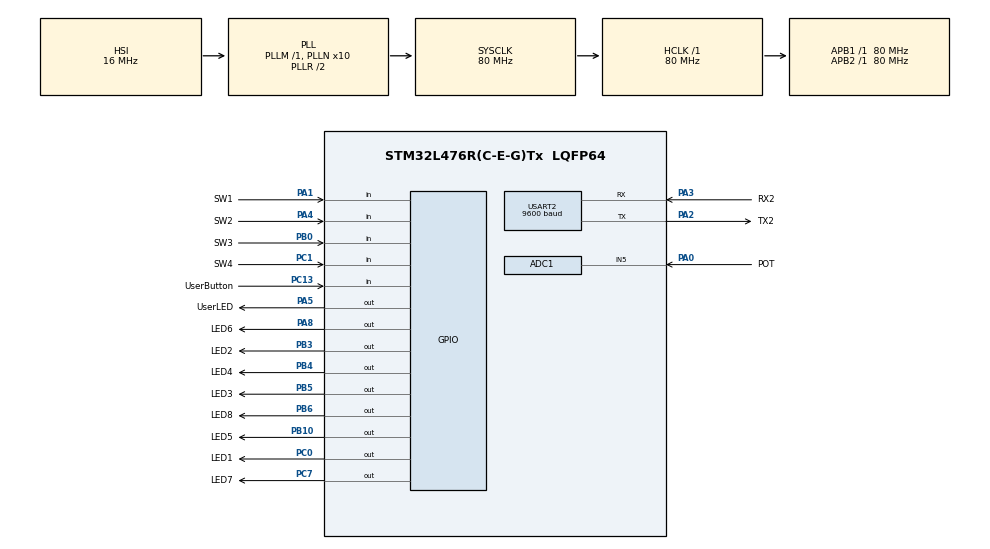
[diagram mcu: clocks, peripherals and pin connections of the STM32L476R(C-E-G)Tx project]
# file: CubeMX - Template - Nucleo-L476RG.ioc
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ADC1.Channel-0\#ChannelRegularConversion=ADC_CHANNEL_5
ADC1.NbrOfConversionFlag=1
ADC1.OffsetNumber-0\#ChannelRegularConversion=ADC_OFFSET_NONE
ADC1.Overrun=ADC_OVR_DATA_OVERWRITTEN
ADC1.Rank-0\#ChannelRegularConversion=1
ADC1.Resolution=ADC_RESOLUTION_12B
ADC1.SamplingTime-0\#ChannelRegularConversion=ADC_SAMPLETIME_2CYCLES_5
ADC1.master=1
FREERTOS.BinarySemaphores01=myBinarySemaphore,Dynamic,NULL
FREERTOS.Tasks01=SemaAcqThread,24,128,SemaphoreAcquire,Default,NULL,Dynamic,NULL,NULL;SemaRelThread1,24,128,SemaphoreReleaseByDelay,Default,NULL,Dynamic,NULL,NULL;SemaRelThread2,24,128,SemaphoreReleaseByButton,Default,NULL,Dynamic,NULL,NULL
FREERTOS.configUSE_NEWLIB_REENTRANT=0
Mcu.Family=STM32L4
Mcu.Name=STM32L476R(C-E-G)Tx
Mcu.Package=LQFP64
NVIC.PriorityGroup=NVIC_PRIORITYGROUP_4
NVIC.TIM6_DAC_IRQn=true\:15\:0\:false\:false\:true\:false\:false\:true\:true
NVIC.TimeBase=TIM6_DAC_IRQn
NVIC.TimeBaseIP=TIM6
PA0.GPIO_Label=POT
PA0.Signal=ADCx_IN5
PA1.GPIO_Label=SW1
PA1.Signal=GPIO_Input
PA13\ (JTMS-SWDIO).GPIO_Label=TMS
PA13\ (JTMS-SWDIO).Mode=Serial_Wire
PA13\ (JTMS-SWDIO).Signal=SYS_JTMS-SWDIO
PA14\ (JTCK-SWCLK).GPIO_Label=TCK
PA14\ (JTCK-SWCLK).Mode=Serial_Wire
PA14\ (JTCK-SWCLK).Signal=SYS_JTCK-SWCLK
PA2.GPIO_Label=TX2
PA2.GPIO_Mode=GPIO_MODE_AF_PP
PA2.GPIO_PuPd=GPIO_NOPULL
PA2.GPIO_Speed=GPIO_SPEED_FREQ_VERY_HIGH
PA2.Mode=Asynchronous
PA2.Signal=USART2_TX
PA3.GPIO_Label=RX2
PA3.GPIO_Mode=GPIO_MODE_AF_PP
PA3.GPIO_PuPd=GPIO_NOPULL
PA3.GPIO_Speed=GPIO_SPEED_FREQ_VERY_HIGH
PA3.Mode=Asynchronous
PA3.Signal=USART2_RX
PA4.GPIO_Label=SW2
PA4.Signal=GPIO_Input
PA5.GPIO_Label=UserLED
PA5.GPIO_ModeDefaultOutputPP=GPIO_MODE_OUTPUT_PP
PA5.GPIO_PuPd=GPIO_NOPULL
PA5.GPIO_Speed=GPIO_SPEED_FREQ_LOW
PA5.Signal=GPIO_Output
PA8.GPIO_Label=LED6
PA8.Signal=GPIO_Output
PB0.GPIO_Label=SW3
PB0.Signal=GPIO_Input
PB10.GPIO_Label=LED5
PB10.Signal=GPIO_Output
PB3\ (JTDO-TRACESWO).GPIO_Label=LED2
PB3\ (JTDO-TRACESWO).Signal=GPIO_Output
PB4\ (NJTRST).GPIO_Label=LED4
PB4\ (NJTRST).Signal=GPIO_Output
PB5.GPIO_Label=LED3
PB5.Signal=GPIO_Output
PB6.GPIO_Label=LED8
PB6.Signal=GPIO_Output
PC0.GPIO_Label=LED1
PC0.Signal=GPIO_Output
PC1.GPIO_Label=SW4
PC1.Signal=GPIO_Input
PC13.GPIO_Label=UserButton
PC13.Signal=GPIO_Input
PC7.GPIO_Label=LED7
PC7.Signal=GPIO_Output
ProjectManager.HeapSize=0x200
ProjectManager.StackSize=0x400
ProjectManager.TargetToolchain=Makefile
RCC.ADCFreq_Value=64000000
RCC.AHBFreq_Value=80000000
RCC.APB1Freq_Value=80000000
RCC.APB1TimFreq_Value=80000000
RCC.APB2Freq_Value=80000000
RCC.APB2TimFreq_Value=80000000
RCC.CortexFreq_Value=80000000
RCC.HCLKFreq_Value=80000000
RCC.HSE_VALUE=8000000
RCC.HSI_VALUE=16000000
RCC.LSE_VALUE=32768
RCC.MSI_VALUE=4000000
RCC.PLLN=10
RCC.PLLSourceVirtual=RCC_PLLSOURCE_HSI
RCC.PREFETCH_ENABLE=1
RCC.SYSCLKFreq_VALUE=80000000
RCC.SYSCLKSource=RCC_SYSCLKSOURCE_PLLCLK
RCC.USBFreq_Value=64000000
RCC.VCOOutputFreq_Value=160000000
SH.ADCx_IN5.0=ADC1_IN5,IN5-Single-Ended
USART2.BaudRate=9600
USART2.OverrunDisableParam=ADVFEATURE_OVERRUN_DISABLE
USART2.VirtualMode-Asynchronous=VM_ASYNC
VP_FREERTOS_VS_CMSIS_V2.Mode=CMSIS_V2
VP_SYS_VS_tim6.Mode=TIM6
board=NUCLEO-L476RG

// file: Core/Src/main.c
/* USER CODE BEGIN Header */
/**
  ******************************************************************************
  * @file           : main.c
  * @brief          : Main program body
  ******************************************************************************
  * @attention
  *
  * Copyright (c) 2023 STMicroelectronics.
  * All rights reserved.
  *
  * This software is licensed under terms that can be found in the LICENSE file
  * in the root directory of this software component.
  * If no LICENSE file comes with this software, it is provided AS-IS.
  *
  ******************************************************************************
  */
	// Versie: 20252026
/* USER CODE END Header */
#include "main.h"
#include "cmsis_os.h"

/* USER CODE BEGIN Includes */
#include "leds.h"
#include "buttons.h"
#include "usart2.h"
#include "ad.h"
#include "stdio.h"
/* USER CODE END Includes */

ADC_HandleTypeDef hadc1;

UART_HandleTypeDef huart2;

/* Definitions for SemaAcqThread */
osThreadId_t SemaAcqThreadHandle;
const osThreadAttr_t SemaAcqThread_attributes = {
  .name = "SemaAcqThread",
  .stack_size = 128 * 4,
  .priority = (osPriority_t) osPriorityNormal,
};
/* Definitions for SemaRelThread1 */
osThreadId_t SemaRelThread1Handle;
const osThreadAttr_t SemaRelThread1_attributes = {
  .name = "SemaRelThread1",
  .stack_size = 128 * 4,
  .priority = (osPriority_t) osPriorityNormal,
};
/* Definitions for SemaRelThread2 */
osThreadId_t SemaRelThread2Handle;
const osThreadAttr_t SemaRelThread2_attributes = {
  .name = "SemaRelThread2",
  .stack_size = 128 * 4,
  .priority = (osPriority_t) osPriorityNormal,
};
/* Definitions for myBinarySemaphore */
osSemaphoreId_t myBinarySemaphoreHandle;
const osSemaphoreAttr_t myBinarySemaphore_attributes = {
  .name = "myBinarySemaphore"
};

void SystemClock_Config(void);
static void MX_GPIO_Init(void);
static void MX_ADC1_Init(void);
static void MX_USART2_UART_Init(void);
void SemaphoreAcquire(void *argument);
void SemaphoreReleaseByDelay(void *argument);
void SemaphoreReleaseByButton(void *argument);

int main(void)
{

  /* MCU Configuration--------------------------------------------------------*/

  /* Reset of all peripherals, Initializes the Flash interface and the Systick. */
  HAL_Init();

  /* Configure the system clock */
  SystemClock_Config();

  /* Initialize all configured peripherals */
  MX_GPIO_Init();
  MX_ADC1_Init();
  MX_USART2_UART_Init();
  /* USER CODE BEGIN 2 */
	// Laten weten dat we opgestart zijn, via de USART2 (USB).
	printf("Reboot\r\n");
  /* USER CODE END 2 */

  /* Init scheduler */
  osKernelInitialize();

  /* Create the semaphores(s) */
  /* creation of myBinarySemaphore */
  myBinarySemaphoreHandle = osSemaphoreNew(1, 0, &myBinarySemaphore_attributes);

  /* Create the thread(s) */
  /* creation of SemaAcqThread */
  SemaAcqThreadHandle = osThreadNew(SemaphoreAcquire, NULL, &SemaAcqThread_attributes);

  /* creation of SemaRelThread1 */
  SemaRelThread1Handle = osThreadNew(SemaphoreReleaseByDelay, NULL, &SemaRelThread1_attributes);

  /* creation of SemaRelThread2 */
  SemaRelThread2Handle = osThreadNew(SemaphoreReleaseByButton, NULL, &SemaRelThread2_attributes);

  /* Start scheduler */
  osKernelStart();

  /* We should never get here as control is now taken by the scheduler */

  /* Infinite loop */
  while (1)
  {

  }
}

void SystemClock_Config(void)
{
  RCC_OscInitTypeDef RCC_OscInitStruct = {0};
  RCC_ClkInitTypeDef RCC_ClkInitStruct = {0};

  /** Configure the main internal regulator output voltage
  */
  if (HAL_PWREx_ControlVoltageScaling(PWR_REGULATOR_VOLTAGE_SCALE1) != HAL_OK)
  {
    Error_Handler();
  }

  /** Initializes the RCC Oscillators according to the specified parameters
  * in the RCC_OscInitTypeDef structure.
  */
  RCC_OscInitStruct.OscillatorType = RCC_OSCILLATORTYPE_HSI;
  RCC_OscInitStruct.HSIState = RCC_HSI_ON;
  RCC_OscInitStruct.HSICalibrationValue = RCC_HSICALIBRATION_DEFAULT;
  RCC_OscInitStruct.PLL.PLLState = RCC_PLL_ON;
  RCC_OscInitStruct.PLL.PLLSource = RCC_PLLSOURCE_HSI;
  RCC_OscInitStruct.PLL.PLLM = 1;
  RCC_OscInitStruct.PLL.PLLN = 10;
  RCC_OscInitStruct.PLL.PLLP = RCC_PLLP_DIV7;
  RCC_OscInitStruct.PLL.PLLQ = RCC_PLLQ_DIV2;
  RCC_OscInitStruct.PLL.PLLR = RCC_PLLR_DIV2;
  if (HAL_RCC_OscConfig(&RCC_OscInitStruct) != HAL_OK)
  {
    Error_Handler();
  }

  /** Initializes the CPU, AHB and APB buses clocks
  */
  RCC_ClkInitStruct.ClockType = RCC_CLOCKTYPE_HCLK|RCC_CLOCKTYPE_SYSCLK
                              |RCC_CLOCKTYPE_PCLK1|RCC_CLOCKTYPE_PCLK2;
  RCC_ClkInitStruct.SYSCLKSource = RCC_SYSCLKSOURCE_PLLCLK;
  RCC_ClkInitStruct.AHBCLKDivider = RCC_SYSCLK_DIV1;
  RCC_ClkInitStruct.APB1CLKDivider = RCC_HCLK_DIV1;
  RCC_ClkInitStruct.APB2CLKDivider = RCC_HCLK_DIV1;

  if (HAL_RCC_ClockConfig(&RCC_ClkInitStruct, FLASH_LATENCY_4) != HAL_OK)
  {
    Error_Handler();
  }
}

static void MX_ADC1_Init(void)
{

  ADC_MultiModeTypeDef multimode = {0};
  ADC_ChannelConfTypeDef sConfig = {0};

  /** Common config
  */
  hadc1.Instance = ADC1;
  hadc1.Init.ClockPrescaler = ADC_CLOCK_ASYNC_DIV1;
  hadc1.Init.Resolution = ADC_RESOLUTION_12B;
  hadc1.Init.DataAlign = ADC_DATAALIGN_RIGHT;
  hadc1.Init.ScanConvMode = ADC_SCAN_DISABLE;
  hadc1.Init.EOCSelection = ADC_EOC_SINGLE_CONV;
  hadc1.Init.LowPowerAutoWait = DISABLE;
  hadc1.Init.ContinuousConvMode = DISABLE;
  hadc1.Init.NbrOfConversion = 1;
  hadc1.Init.DiscontinuousConvMode = DISABLE;
  hadc1.Init.ExternalTrigConv = ADC_SOFTWARE_START;
  hadc1.Init.ExternalTrigConvEdge = ADC_EXTERNALTRIGCONVEDGE_NONE;
  hadc1.Init.DMAContinuousRequests = DISABLE;
  hadc1.Init.Overrun = ADC_OVR_DATA_OVERWRITTEN;
  hadc1.Init.OversamplingMode = DISABLE;
  if (HAL_ADC_Init(&hadc1) != HAL_OK)
  {
    Error_Handler();
  }

  /** Configure the ADC multi-mode
  */
  multimode.Mode = ADC_MODE_INDEPENDENT;
  if (HAL_ADCEx_MultiModeConfigChannel(&hadc1, &multimode) != HAL_OK)
  {
    Error_Handler();
  }

  /** Configure Regular Channel
  */
  sConfig.Channel = ADC_CHANNEL_5;
  sConfig.Rank = ADC_REGULAR_RANK_1;
  sConfig.SamplingTime = ADC_SAMPLETIME_2CYCLES_5;
  sConfig.SingleDiff = ADC_SINGLE_ENDED;
  sConfig.OffsetNumber = ADC_OFFSET_NONE;
  sConfig.Offset = 0;
  if (HAL_ADC_ConfigChannel(&hadc1, &sConfig) != HAL_OK)
  {
    Error_Handler();
  }

}

static void MX_USART2_UART_Init(void)
{

  huart2.Instance = USART2;
  huart2.Init.BaudRate = 9600;
  huart2.Init.WordLength = UART_WORDLENGTH_8B;
  huart2.Init.StopBits = UART_STOPBITS_1;
  huart2.Init.Parity = UART_PARITY_NONE;
  huart2.Init.Mode = UART_MODE_TX_RX;
  huart2.Init.HwFlowCtl = UART_HWCONTROL_NONE;
  huart2.Init.OverSampling = UART_OVERSAMPLING_16;
  huart2.Init.OneBitSampling = UART_ONE_BIT_SAMPLE_DISABLE;
  huart2.AdvancedInit.AdvFeatureInit = UART_ADVFEATURE_RXOVERRUNDISABLE_INIT;
  huart2.AdvancedInit.OverrunDisable = UART_ADVFEATURE_OVERRUN_DISABLE;
  if (HAL_UART_Init(&huart2) != HAL_OK)
  {
    Error_Handler();
  }

}

static void MX_GPIO_Init(void)
{
  GPIO_InitTypeDef GPIO_InitStruct = {0};

  /* GPIO Ports Clock Enable */
  __HAL_RCC_GPIOC_CLK_ENABLE();
  __HAL_RCC_GPIOA_CLK_ENABLE();
  __HAL_RCC_GPIOB_CLK_ENABLE();

  /*Configure GPIO pin Output Level */
  HAL_GPIO_WritePin(GPIOC, LED1_Pin|LED7_Pin, GPIO_PIN_RESET);

  /*Configure GPIO pin Output Level */
  HAL_GPIO_WritePin(GPIOA, UserLED_Pin|LED6_Pin, GPIO_PIN_RESET);

  /*Configure GPIO pin Output Level */
  HAL_GPIO_WritePin(GPIOB, LED5_Pin|LED2_Pin|LED4_Pin|LED3_Pin
                          |LED8_Pin, GPIO_PIN_RESET);

  /*Configure GPIO pins : UserButton_Pin SW4_Pin */
  GPIO_InitStruct.Pin = UserButton_Pin|SW4_Pin;
  GPIO_InitStruct.Mode = GPIO_MODE_INPUT;
  GPIO_InitStruct.Pull = GPIO_NOPULL;
  HAL_GPIO_Init(GPIOC, &GPIO_InitStruct);

  /*Configure GPIO pins : LED1_Pin LED7_Pin */
  GPIO_InitStruct.Pin = LED1_Pin|LED7_Pin;
  GPIO_InitStruct.Mode = GPIO_MODE_OUTPUT_PP;
  GPIO_InitStruct.Pull = GPIO_NOPULL;
  GPIO_InitStruct.Speed = GPIO_SPEED_FREQ_LOW;
  HAL_GPIO_Init(GPIOC, &GPIO_InitStruct);

  /*Configure GPIO pins : SW1_Pin SW2_Pin */
  GPIO_InitStruct.Pin = SW1_Pin|SW2_Pin;
  GPIO_InitStruct.Mode = GPIO_MODE_INPUT;
  GPIO_InitStruct.Pull = GPIO_NOPULL;
  HAL_GPIO_Init(GPIOA, &GPIO_InitStruct);

  /*Configure GPIO pins : UserLED_Pin LED6_Pin */
  GPIO_InitStruct.Pin = UserLED_Pin|LED6_Pin;
  GPIO_InitStruct.Mode = GPIO_MODE_OUTPUT_PP;
  GPIO_InitStruct.Pull = GPIO_NOPULL;
  GPIO_InitStruct.Speed = GPIO_SPEED_FREQ_LOW;
  HAL_GPIO_Init(GPIOA, &GPIO_InitStruct);

  /*Configure GPIO pin : SW3_Pin */
  GPIO_InitStruct.Pin = SW3_Pin;
  GPIO_InitStruct.Mode = GPIO_MODE_INPUT;
  GPIO_InitStruct.Pull = GPIO_NOPULL;
  HAL_GPIO_Init(SW3_GPIO_Port, &GPIO_InitStruct);

  /*Configure GPIO pins : LED5_Pin LED2_Pin LED4_Pin LED3_Pin
                           LED8_Pin */
  GPIO_InitStruct.Pin = LED5_Pin|LED2_Pin|LED4_Pin|LED3_Pin
                          |LED8_Pin;
  GPIO_InitStruct.Mode = GPIO_MODE_OUTPUT_PP;
  GPIO_InitStruct.Pull = GPIO_NOPULL;
  GPIO_InitStruct.Speed = GPIO_SPEED_FREQ_LOW;
  HAL_GPIO_Init(GPIOB, &GPIO_InitStruct);

}

void SemaphoreAcquire(void *argument)
{
  /* USER CODE BEGIN 5 */
	uint8_t ledState = 0;

  /* Infinite loop */
  for(;;)
  {
		// Wachten (in blocked state) tot de binaire semafoor beschikbaar is.
		// Zie: https://arm-software.github.io/CMSIS_5/RTOS2/html/group__CMSIS__RTOS__SemaphoreMgmt.html.
    osSemaphoreAcquire(myBinarySemaphoreHandle, osWaitForever);

		// LED-teller maken.
		ByteToLeds(ledState++);

		// OPM: dit concept kan je in principe ook uitwerken met Event en/of Thread flags...
  }
  /* USER CODE END 5 */
}

void SemaphoreReleaseByDelay(void *argument)
{
  /* USER CODE BEGIN SemaphoreReleaseByDelay */
  /* Infinite loop */
  for(;;)
  {
		// De binaire semafoor beschikbaar stellen voor gebruik in een andere thread.
		// Zie: https://arm-software.github.io/CMSIS_5/RTOS2/html/group__CMSIS__RTOS__SemaphoreMgmt.html.
		osSemaphoreRelease(myBinarySemaphoreHandle);

		// Even wachten.
    osDelay(3000);
  }
  /* USER CODE END SemaphoreReleaseByDelay */
}

void SemaphoreReleaseByButton(void *argument)
{
  /* USER CODE BEGIN SemaphoreReleaseByButton */
	bool sw1Help = false;

  /* Infinite loop */
  for(;;)
  {
		// Flankdetectie doen op SW1 (met antidenderwachttijd).
		if(SW1Active() && (sw1Help == false))
		{
			sw1Help = true;

			// De binaire semafoor beschikbaar stellen voor gebruik in een andere thread.
			// Zie: https://arm-software.github.io/CMSIS_5/RTOS2/html/group__CMSIS__RTOS__SemaphoreMgmt.html.
			osSemaphoreRelease(myBinarySemaphoreHandle);
		}

		if(!SW1Active())
			sw1Help = false;

		// Antidenderwachttijd.
		osDelay(10);
  }
  /* USER CODE END SemaphoreReleaseByButton */
}

void HAL_TIM_PeriodElapsedCallback(TIM_HandleTypeDef *htim)
{
  if (htim->Instance == TIM6)
  {
    HAL_IncTick();
  }
}

void Error_Handler(void)
{
  __disable_irq();
  while (1)
  {
  }
}
#ifdef USE_FULL_ASSERT
/**
  * @brief  Reports the name of the source file and the source line number
  *         where the assert_param error has occurred.
  * @param  file: pointer to the source file name
  * @param  line: assert_param error line source number
  * @retval None
  */
void assert_failed(uint8_t *file, uint32_t line)
{
  /* USER CODE BEGIN 6 */
  /* User can add his own implementation to report the file name and line number,
     ex: printf("Wrong parameters value: file %s on line %d\r\n", file, line) */
// Versie: 20252026
  /* USER CODE END 6 */
}
#endif /* USE_FULL_ASSERT */
